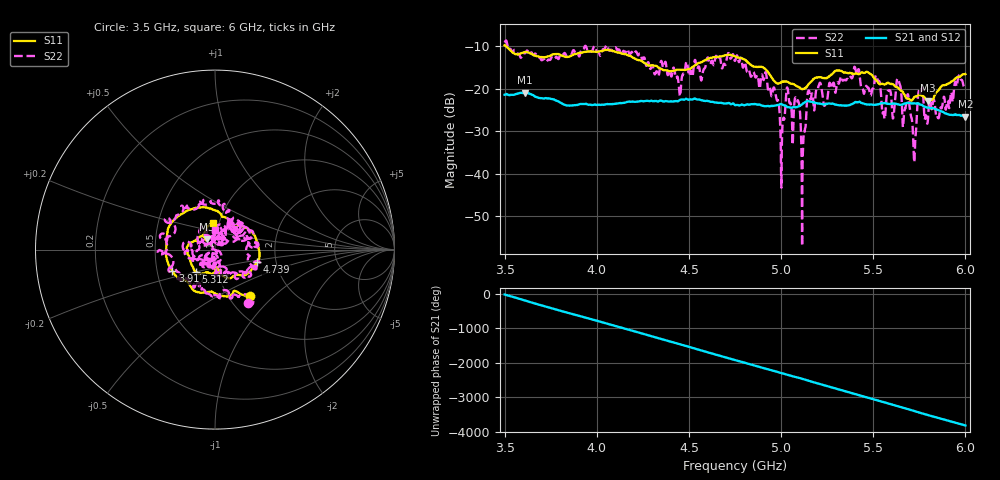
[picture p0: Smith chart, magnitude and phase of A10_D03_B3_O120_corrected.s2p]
! Created with skrf 1.9.0 (http://scikit-rf.org).
# Hz S RI R 50.0
!freq ReS11 ImS11 ReS21 ImS21 ReS12 ImS12 ReS22 ImS22
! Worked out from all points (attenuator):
!   1601 points, 3.5 GHz to 6 GHz, reference 50 ohm
!   highest |S21| = -20.95 dB at 3.611 GHz (marker M1); lowest = -26.5 dB at 6 GHz (marker M2)
!   lowest |S11| = -22.8 dB at 5.795 GHz (marker M3), VSWR 1.16, Z = 45.5 + j5.24 ohm
!   |S11| at or under -10 dB: 3.508 GHz to end of sweep
!   |S22| runs from -57.0 to -8.6 dB; largest |S21 - S12| = 0.001
!   S11 on the Smith chart (normalised r, x): 3.5 GHz: 1.25, -0.72; 3.917 GHz: 0.60, -0.15; 4.739 GHz: 1.59, -0.24; 5.312 GHz: 0.79, -0.20; 6 GHz: 0.94, +0.29
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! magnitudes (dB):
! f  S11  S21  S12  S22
! 3.5 GHz  -9.8  -21.4  -21.4  -9.1
! 3.611 GHz  -11.4  -21.0  -21.0  -11.7
! 3.917 GHz  -11.5  -23.6  -23.6  -10.8
! 4.334 GHz  -15.0  -23.0  -22.9  -17.1
! 4.739 GHz  -12.2  -23.4  -23.5  -11.9
! 4.75 GHz  -12.4  -23.9  -23.8  -13.5
! 4.967 GHz  -18.4  -23.9  -23.9  -20.6
! 5.006 GHz  -18.4  -23.7  -23.7  -29.8
! 5.034 GHz  -18.3  -24.3  -24.2  -19.8
! 5.088 GHz  -19.4  -24.3  -24.3  -22.8
! 5.119 GHz  -20.0  -23.5  -23.4  -34.1
! 5.145 GHz  -19.2  -22.9  -22.9  -20.8
! 5.167 GHz  -18.1  -23.1  -23.0  -21.1
! 5.312 GHz  -15.8  -23.9  -23.9  -18.8
! 5.522 GHz  -18.3  -23.7  -23.7  -17.6
! 5.558 GHz  -19.0  -23.4  -23.4  -25.9
! 5.584 GHz  -18.7  -23.5  -23.5  -20.4
! 5.639 GHz  -20.0  -23.7  -23.7  -18.3
! 5.722 GHz  -22.0  -23.4  -23.4  -37.3
! 5.755 GHz  -21.4  -23.7  -23.6  -20.8
! 5.795 GHz  -22.8  -24.4  -24.4  -27.9
! 6 GHz  -16.5  -26.5  -26.5  -19.3
